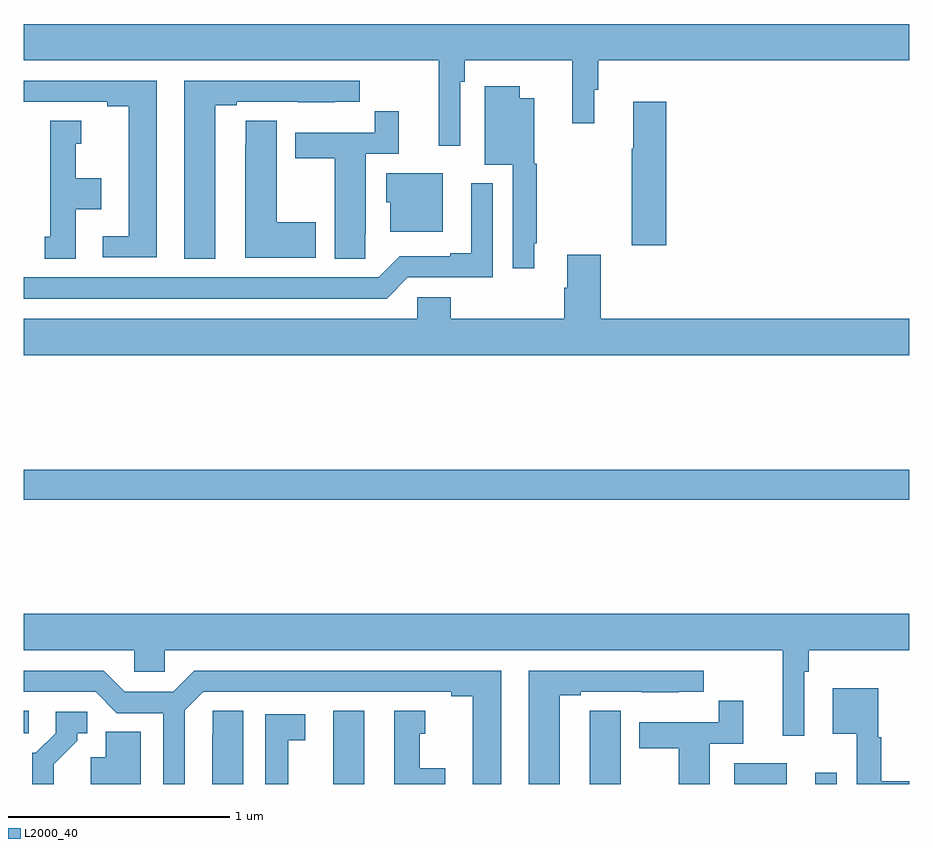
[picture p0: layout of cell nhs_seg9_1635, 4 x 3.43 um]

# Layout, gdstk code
import gdstk
lib = gdstk.Library(unit=1e-6, precision=1e-09)
def R(c, l, rs):  # rectangles x0, y0, x1, y1
    for r in rs: c.add(gdstk.rectangle(r[:2], r[2:], *l))
def P(c, l, *ps):  # polygons
    for p in ps: c.add(gdstk.Polygon(p, *l))
L2000_40 = (2000, 40)

nhs_seg9_1635 = lib.new_cell('nhs_seg9_1635')
R(nhs_seg9_1635, L2000_40, [(204.398,1178.5,204.538,1178.83), (206.21,1178.5,206.446,1178.593), (206.576,1178.5,206.673,1178.551), (203,1178.73,203.023,1178.831), (203,1179.784,207,1179.92)])
P(nhs_seg9_1635, L2000_40, [(203,1181.768),(204.875,1181.768),(204.875,1181.382),(204.972,1181.382),(204.972,1181.672),(204.992,1181.672),(204.992,1181.768),(205.477,1181.768),(205.477,1181.484),(205.576,1181.484),(205.576,1181.634),(205.595,1181.634),(205.595,1181.768),(207,1181.768),(207,1181.932),(203,1181.932)],
  [(203.866,1181.565),(203.962,1181.565),(203.962,1181.58),(204.238,1181.58),(204.238,1181.579),(204.404,1181.579),(204.404,1181.58),(204.517,1181.58),(204.517,1181.676),(203.726,1181.676),(203.726,1180.873),(203.866,1180.873)],
  [(203.602,1181.676),(203,1181.676),(203,1181.58),(203.378,1181.58),(203.378,1181.56),(203.474,1181.56),(203.474,1180.974),(203.358,1180.974),(203.358,1180.878),(203.602,1180.878)],
  [(205.306,1180.942),(205.318,1180.942),(205.318,1181.301),(205.306,1181.301),(205.306,1181.596),(205.24,1181.596),(205.24,1181.65),(205.082,1181.65),(205.082,1181.297),(205.209,1181.297),(205.209,1180.83),(205.306,1180.83)],
  [(205.901,1181.581),(205.754,1181.581),(205.754,1181.368),(205.747,1181.368),(205.747,1180.932),(205.901,1180.932)],
  [(204.543,1180.984),(204.544,1180.984),(204.544,1181.346),(204.695,1181.346),(204.695,1181.539),(204.586,1181.539),(204.586,1181.442),(204.227,1181.442),(204.227,1181.326),(204.404,1181.326),(204.404,1180.873),(204.543,1180.873)],
  [(204.319,1181.037),(204.142,1181.037),(204.142,1181.495),(204.003,1181.495),(204.003,1181.387),(204.002,1181.387),(204.002,1180.877),(204.319,1180.877)],
  [(203.236,1181.096),(203.35,1181.096),(203.35,1181.236),(203.236,1181.236),(203.236,1181.391),(203.26,1181.391),(203.26,1181.494),(203.12,1181.494),(203.12,1180.971),(203.096,1180.971),(203.096,1180.873),(203.236,1180.873)],
  [(204.892,1181.257),(204.638,1181.257),(204.638,1181.127),(204.656,1181.127),(204.656,1180.994),(204.892,1180.994)],
  [(204.735,1180.788),(205.119,1180.788),(205.119,1181.212),(205.022,1181.212),(205.022,1180.897),(204.926,1180.897),(204.926,1180.884),(204.699,1180.884),(204.603,1180.788),(203,1180.788),(203,1180.692),(204.639,1180.692)],
  [(207,1180.6),(205.607,1180.6),(205.607,1180.891),(205.454,1180.891),(205.454,1180.742),(205.442,1180.742),(205.442,1180.6),(204.929,1180.6),(204.929,1180.698),(204.777,1180.698),(204.777,1180.6),(203,1180.6),(203,1180.436),(207,1180.436)],
  [(206.526,1179.008),(206.546,1179.008),(206.546,1179.104),(207,1179.104),(207,1179.268),(203,1179.268),(203,1179.104),(203.499,1179.104),(203.499,1179.006),(203.637,1179.006),(203.637,1179.104),(206.429,1179.104),(206.429,1178.718),(206.526,1178.718)],
  [(205.42,1178.901),(205.516,1178.901),(205.516,1178.916),(205.792,1178.916),(205.792,1178.915),(205.958,1178.915),(205.958,1178.916),(206.071,1178.916),(206.071,1179.012),(205.28,1179.012),(205.28,1178.5),(205.42,1178.5)],
  [(203.727,1178.832),(203.811,1178.916),(204.932,1178.916),(204.932,1178.896),(205.028,1178.896),(205.028,1178.5),(205.156,1178.5),(205.156,1179.012),(203.771,1179.012),(203.675,1178.916),(203.457,1178.916),(203.361,1179.012),(203,1179.012),(203,1178.916),(203.325,1178.916),(203.421,1178.82),(203.631,1178.82),(203.631,1178.5),(203.727,1178.5)],
  [(207,1178.513),(206.872,1178.513),(206.872,1178.712),(206.86,1178.712),(206.86,1178.932),(206.654,1178.932),(206.654,1178.726),(206.763,1178.726),(206.763,1178.5),(207,1178.5)],
  [(206.098,1178.682),(206.249,1178.682),(206.249,1178.875),(206.14,1178.875),(206.14,1178.778),(205.781,1178.778),(205.781,1178.662),(205.958,1178.662),(205.958,1178.5),(206.098,1178.5)],
  [(203.992,1178.831),(203.853,1178.831),(203.853,1178.723),(203.852,1178.723),(203.852,1178.5),(203.992,1178.5)],
  [(205.696,1178.831),(205.557,1178.831),(205.557,1178.723),(205.556,1178.723),(205.556,1178.5),(205.696,1178.5)],
  [(204.904,1178.572),(204.79,1178.572),(204.79,1178.727),(204.814,1178.727),(204.814,1178.83),(204.674,1178.83),(204.674,1178.5),(204.904,1178.5)],
  [(203.137,1178.59),(203.242,1178.695),(203.242,1178.73),(203.287,1178.73),(203.287,1178.826),(203.145,1178.826),(203.145,1178.73),(203.055,1178.64),(203.04,1178.64),(203.04,1178.5),(203.137,1178.5)],
  [(204.196,1178.698),(204.271,1178.698),(204.271,1178.814),(204.092,1178.814),(204.092,1178.5),(204.196,1178.5)],
  [(203.53,1178.735),(203.372,1178.735),(203.372,1178.62),(203.303,1178.62),(203.303,1178.5),(203.53,1178.5)])

lib.write_gds('nhs_seg9_1635.gds')
